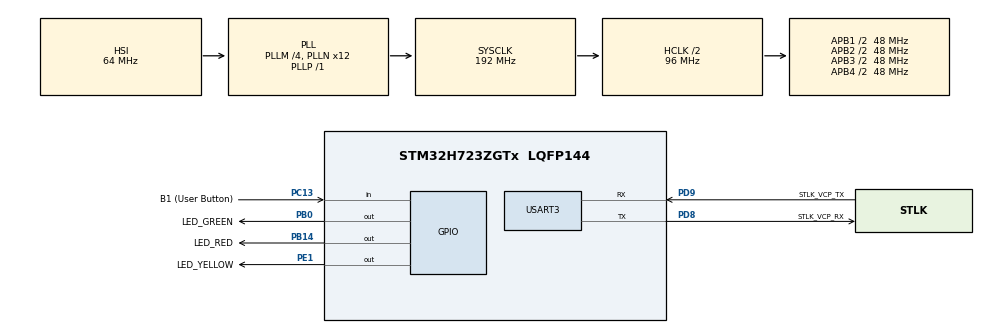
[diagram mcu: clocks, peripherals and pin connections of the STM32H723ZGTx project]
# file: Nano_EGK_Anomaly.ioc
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CORTEX_M7.default_mode_Activation=1
Mcu.Family=STM32H7
Mcu.Name=STM32H723ZGTx
Mcu.Package=LQFP144
NVIC.PriorityGroup=NVIC_PRIORITYGROUP_4
PA13(JTMS/SWDIO).GPIO_Label=SWDIO
PA13(JTMS/SWDIO).Signal=DEBUG_JTMS-SWDIO
PA14(JTCK/SWCLK).GPIO_Label=SWCLK
PA14(JTCK/SWCLK).Signal=DEBUG_JTCK-SWCLK
PB0.GPIO_Label=LED_GREEN
PB0.Signal=GPIO_Output
PB14.GPIO_Label=LED_RED
PB14.Signal=GPIO_Output
PC13.GPIO_Label=B1 (User Button)
PC13.Signal=GPIO_Input
PC14-OSC32_IN.Signal=RCC_OSC32_IN
PC15-OSC32_OUT.Signal=RCC_OSC32_OUT
PD8.GPIO_Label=STLK_VCP_RX
PD8.Mode=Asynchronous
PD8.Signal=USART3_TX
PD9.GPIO_Label=STLK_VCP_TX
PD9.Mode=Asynchronous
PD9.Signal=USART3_RX
PE1.GPIO_Label=LED_YELLOW
PE1.Signal=GPIO_Output
PH0-OSC_IN.Mode=HSE-External-Oscillator
PH0-OSC_IN.Signal=RCC_OSC_IN
PH1-OSC_OUT.Mode=HSE-External-Oscillator
PH1-OSC_OUT.Signal=RCC_OSC_OUT
ProjectManager.HeapSize=0x1000
ProjectManager.StackSize=0x1000
ProjectManager.TargetToolchain=STM32CubeIDE
RCC.ADCFreq_Value=608000000
RCC.APB1Freq_Value=48000000
RCC.APB2Freq_Value=48000000
RCC.APB3Freq_Value=48000000
RCC.APB4Freq_Value=48000000
RCC.CortexFreq_Value=192000000
RCC.D1PPRE=RCC_APB3_DIV2
RCC.D2PPRE1=RCC_APB1_DIV2
RCC.D2PPRE2=RCC_APB2_DIV2
RCC.D3PPRE=RCC_APB4_DIV2
RCC.DIVM1=4
RCC.DIVM2=1
RCC.DIVN1=12
RCC.DIVN2=19
RCC.DIVP1=1
RCC.DIVQ1=4
RCC.HCLKFreq_Value=96000000
RCC.HPRE=RCC_HCLK_DIV2
RCC.HSE_VALUE=8000000
RCC.PLLFRACN=0
RCC.SYSCLKFreq_VALUE=192000000
RCC.SYSCLKSource=RCC_SYSCLKSOURCE_PLLCLK
RCC.USBCLockSelection=RCC_USBCLKSOURCE_HSI48
RCC.USBFreq_Value=48000000
USART3.VirtualMode-Asynchronous=VM_ASYNC
VP_MEMORYMAP_VS_MEMORYMAP.Mode=CurAppReg
board=NUCLEO-H723ZG

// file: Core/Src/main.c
/* USER CODE BEGIN Header */
/**
  ******************************************************************************
  * @file           : main.c
  * @brief          : Main program body
  ******************************************************************************
  * @attention
  *
  * Copyright (c) 2025 STMicroelectronics.
  * All rights reserved.
  *
  * This software is licensed under terms that can be found in the LICENSE file
  * in the root directory of this software component.
  * If no LICENSE file comes with this software, it is provided AS-IS.
  *
  ******************************************************************************
  */
/* USER CODE END Header */
#include "main.h"

/* USER CODE BEGIN Includes */
#include "NanoEdgeAI.h"
#include "knowledge.h"
#include "stdio.h"
#include "string.h"
#include "stdbool.h"

/* USER CODE END Includes */

/* USER CODE BEGIN PM */
#define RX_LEN 560
#define FLOAT_SIZE 4

/* USER CODE END PM */

UART_HandleTypeDef huart3;

/* USER CODE BEGIN PV */

extern float normal_data[DATA_ROWS][DATA_INPUT_USER];
extern float anomaly_data[DATA_ROWS][DATA_INPUT_USER];

uint8_t rx_buffer[RX_LEN];
float inf_buffer[DATA_INPUT_USER];
static volatile uint8_t float_offset=0;
/* USER CODE END PV */

void SystemClock_Config(void);
static void MPU_Config(void);
static void MX_GPIO_Init(void);
static void MX_USART3_UART_Init(void);
/* USER CODE BEGIN PFP */

void inferrence();

/* USER CODE END PFP */

int main(void)
{

  /* MPU Configuration--------------------------------------------------------*/
  MPU_Config();

  /* MCU Configuration--------------------------------------------------------*/

  /* Reset of all peripherals, Initializes the Flash interface and the Systick. */
  HAL_Init();

  /* Configure the system clock */
  SystemClock_Config();

  /* Initialize all configured peripherals */
  MX_GPIO_Init();
  MX_USART3_UART_Init();

  /* Infinite loop */
  /* USER CODE BEGIN WHILE */
  enum neai_state status = neai_anomalydetection_init();
  if(status != NEAI_OK) {
	  printf("neai_anomalydetection_init failed %d\r\n", status);
	  return 0;
  }

  status = neai_anomalydetection_knowledge(knowledge);
  if(status != NEAI_OK) {
  	  printf("neai_anomalydetection_knowledge failed %d\r\n", status);
  	  return 0;
  }
  //HAL_UART_Receive_IT(&huart3, rx_buffer, RX_LEN);
  HAL_UARTEx_ReceiveToIdle_IT(&huart3, rx_buffer, RX_LEN);
  while (1)
  {
    /* USER CODE END WHILE */
	  //inferrence();
  }
}

void SystemClock_Config(void)
{
  RCC_OscInitTypeDef RCC_OscInitStruct = {0};
  RCC_ClkInitTypeDef RCC_ClkInitStruct = {0};

  /** Supply configuration update enable
  */
  HAL_PWREx_ConfigSupply(PWR_LDO_SUPPLY);

  /** Configure the main internal regulator output voltage
  */
  __HAL_PWR_VOLTAGESCALING_CONFIG(PWR_REGULATOR_VOLTAGE_SCALE2);

  while(!__HAL_PWR_GET_FLAG(PWR_FLAG_VOSRDY)) {}

  /** Initializes the RCC Oscillators according to the specified parameters
  * in the RCC_OscInitTypeDef structure.
  */
  RCC_OscInitStruct.OscillatorType = RCC_OSCILLATORTYPE_HSI;
  RCC_OscInitStruct.HSIState = RCC_HSI_DIV1;
  RCC_OscInitStruct.HSICalibrationValue = 64;
  RCC_OscInitStruct.PLL.PLLState = RCC_PLL_ON;
  RCC_OscInitStruct.PLL.PLLSource = RCC_PLLSOURCE_HSI;
  RCC_OscInitStruct.PLL.PLLM = 4;
  RCC_OscInitStruct.PLL.PLLN = 12;
  RCC_OscInitStruct.PLL.PLLP = 1;
  RCC_OscInitStruct.PLL.PLLQ = 4;
  RCC_OscInitStruct.PLL.PLLR = 2;
  RCC_OscInitStruct.PLL.PLLRGE = RCC_PLL1VCIRANGE_3;
  RCC_OscInitStruct.PLL.PLLVCOSEL = RCC_PLL1VCOWIDE;
  RCC_OscInitStruct.PLL.PLLFRACN = 0;
  if (HAL_RCC_OscConfig(&RCC_OscInitStruct) != HAL_OK)
  {
    Error_Handler();
  }

  /** Initializes the CPU, AHB and APB buses clocks
  */
  RCC_ClkInitStruct.ClockType = RCC_CLOCKTYPE_HCLK|RCC_CLOCKTYPE_SYSCLK
                              |RCC_CLOCKTYPE_PCLK1|RCC_CLOCKTYPE_PCLK2
                              |RCC_CLOCKTYPE_D3PCLK1|RCC_CLOCKTYPE_D1PCLK1;
  RCC_ClkInitStruct.SYSCLKSource = RCC_SYSCLKSOURCE_PLLCLK;
  RCC_ClkInitStruct.SYSCLKDivider = RCC_SYSCLK_DIV1;
  RCC_ClkInitStruct.AHBCLKDivider = RCC_HCLK_DIV2;
  RCC_ClkInitStruct.APB3CLKDivider = RCC_APB3_DIV2;
  RCC_ClkInitStruct.APB1CLKDivider = RCC_APB1_DIV2;
  RCC_ClkInitStruct.APB2CLKDivider = RCC_APB2_DIV2;
  RCC_ClkInitStruct.APB4CLKDivider = RCC_APB4_DIV2;

  if (HAL_RCC_ClockConfig(&RCC_ClkInitStruct, FLASH_LATENCY_1) != HAL_OK)
  {
    Error_Handler();
  }
}

static void MX_USART3_UART_Init(void)
{

  huart3.Instance = USART3;
  huart3.Init.BaudRate = 115200;
  huart3.Init.WordLength = UART_WORDLENGTH_8B;
  huart3.Init.StopBits = UART_STOPBITS_1;
  huart3.Init.Parity = UART_PARITY_NONE;
  huart3.Init.Mode = UART_MODE_TX_RX;
  huart3.Init.HwFlowCtl = UART_HWCONTROL_NONE;
  huart3.Init.OverSampling = UART_OVERSAMPLING_16;
  huart3.Init.OneBitSampling = UART_ONE_BIT_SAMPLE_DISABLE;
  huart3.Init.ClockPrescaler = UART_PRESCALER_DIV1;
  huart3.AdvancedInit.AdvFeatureInit = UART_ADVFEATURE_NO_INIT;
  if (HAL_UART_Init(&huart3) != HAL_OK)
  {
    Error_Handler();
  }
  if (HAL_UARTEx_SetTxFifoThreshold(&huart3, UART_TXFIFO_THRESHOLD_1_8) != HAL_OK)
  {
    Error_Handler();
  }
  if (HAL_UARTEx_SetRxFifoThreshold(&huart3, UART_RXFIFO_THRESHOLD_1_8) != HAL_OK)
  {
    Error_Handler();
  }
  if (HAL_UARTEx_DisableFifoMode(&huart3) != HAL_OK)
  {
    Error_Handler();
  }

}

static void MX_GPIO_Init(void)
{
  GPIO_InitTypeDef GPIO_InitStruct = {0};

  /* GPIO Ports Clock Enable */
  __HAL_RCC_GPIOC_CLK_ENABLE();
  __HAL_RCC_GPIOH_CLK_ENABLE();
  __HAL_RCC_GPIOB_CLK_ENABLE();
  __HAL_RCC_GPIOD_CLK_ENABLE();
  __HAL_RCC_GPIOA_CLK_ENABLE();
  __HAL_RCC_GPIOE_CLK_ENABLE();

  /*Configure GPIO pin Output Level */
  HAL_GPIO_WritePin(GPIOB, LED_GREEN_Pin|LED_RED_Pin, GPIO_PIN_RESET);

  /*Configure GPIO pin Output Level */
  HAL_GPIO_WritePin(LED_YELLOW_GPIO_Port, LED_YELLOW_Pin, GPIO_PIN_RESET);

  /*Configure GPIO pin : B1_Pin */
  GPIO_InitStruct.Pin = B1_Pin;
  GPIO_InitStruct.Mode = GPIO_MODE_INPUT;
  GPIO_InitStruct.Pull = GPIO_NOPULL;
  HAL_GPIO_Init(B1_GPIO_Port, &GPIO_InitStruct);

  /*Configure GPIO pins : LED_GREEN_Pin LED_RED_Pin */
  GPIO_InitStruct.Pin = LED_GREEN_Pin|LED_RED_Pin;
  GPIO_InitStruct.Mode = GPIO_MODE_OUTPUT_PP;
  GPIO_InitStruct.Pull = GPIO_NOPULL;
  GPIO_InitStruct.Speed = GPIO_SPEED_FREQ_LOW;
  HAL_GPIO_Init(GPIOB, &GPIO_InitStruct);

  /*Configure GPIO pin : LED_YELLOW_Pin */
  GPIO_InitStruct.Pin = LED_YELLOW_Pin;
  GPIO_InitStruct.Mode = GPIO_MODE_OUTPUT_PP;
  GPIO_InitStruct.Pull = GPIO_NOPULL;
  GPIO_InitStruct.Speed = GPIO_SPEED_FREQ_LOW;
  HAL_GPIO_Init(LED_YELLOW_GPIO_Port, &GPIO_InitStruct);

}

/* USER CODE BEGIN 4 */
int _write(int file, char *ptr, int len) {
    HAL_UART_Transmit(&huart3, (uint8_t*)ptr, len, HAL_MAX_DELAY);
    return len;
}
void HAL_UARTEx_RxEventCallback(UART_HandleTypeDef *huart, uint16_t Size)
{
    if (huart->Instance == USART3)
    {
        uint16_t floats_received = Size / FLOAT_SIZE;

        for (uint16_t i = 0; i < floats_received && float_offset < DATA_INPUT_USER; ++i)
        {
            memcpy(&inf_buffer[float_offset], &rx_buffer[i * FLOAT_SIZE], FLOAT_SIZE);
            float_offset++;
        }

        if (float_offset == DATA_INPUT_USER)
        {
            uint8_t similarity = 0;
            enum neai_state status = neai_anomalydetection_detect(inf_buffer, &similarity);
            printf("similarity = %d, status = %d\r\n", similarity, status);

            float_offset = 0;
            memset(inf_buffer, 0, sizeof(inf_buffer));
        }

        HAL_UARTEx_ReceiveToIdle_IT(&huart3, rx_buffer, RX_LEN);  // Re-arm
    }
}

void inferrence()
{
	uint8_t lowest_normal = 100;
	  uint8_t highest_anomaly = 0;

	  for (int i = 0; i < DATA_ROWS; i++) {
	      uint8_t normal_similarity = 0;
	      enum neai_state normal_status = neai_anomalydetection_detect(normal_data[i], &normal_similarity);

	      uint8_t anomaly_similarity = 0;
	      enum neai_state anomaly_status = neai_anomalydetection_detect(anomaly_data[i], &anomaly_similarity);

	      if (normal_status == NEAI_OK && normal_similarity < lowest_normal) {
	          lowest_normal = normal_similarity;
	      }

	      if (anomaly_status == NEAI_OK && anomaly_similarity > highest_anomaly) {
	          highest_anomaly = anomaly_similarity;
	      }

	      printf("normal similarity = %d, neai_state = %d --- anomaly similarity = %d, neai_state = %d\r\n",
	             normal_similarity, normal_status, anomaly_similarity, anomaly_status);
	  }

	  printf("Lowest normal similarity: %d\r\n", lowest_normal);
	  printf("Highest anomaly similarity: %d\r\n", highest_anomaly);
}

/* -----------------------------------------------------------------------------*/

/* USER CODE END 4 */

 /* MPU Configuration */

void MPU_Config(void)
{
  MPU_Region_InitTypeDef MPU_InitStruct = {0};

  /* Disables the MPU */
  HAL_MPU_Disable();

  /** Initializes and configures the Region and the memory to be protected
  */
  MPU_InitStruct.Enable = MPU_REGION_ENABLE;
  MPU_InitStruct.Number = MPU_REGION_NUMBER0;
  MPU_InitStruct.BaseAddress = 0x0;
  MPU_InitStruct.Size = MPU_REGION_SIZE_4GB;
  MPU_InitStruct.SubRegionDisable = 0x87;
  MPU_InitStruct.TypeExtField = MPU_TEX_LEVEL0;
  MPU_InitStruct.AccessPermission = MPU_REGION_NO_ACCESS;
  MPU_InitStruct.DisableExec = MPU_INSTRUCTION_ACCESS_DISABLE;
  MPU_InitStruct.IsShareable = MPU_ACCESS_SHAREABLE;
  MPU_InitStruct.IsCacheable = MPU_ACCESS_NOT_CACHEABLE;
  MPU_InitStruct.IsBufferable = MPU_ACCESS_NOT_BUFFERABLE;

  HAL_MPU_ConfigRegion(&MPU_InitStruct);
  /* Enables the MPU */
  HAL_MPU_Enable(MPU_PRIVILEGED_DEFAULT);

}

void Error_Handler(void)
{
  __disable_irq();
  while (1)
  {
  }
}
